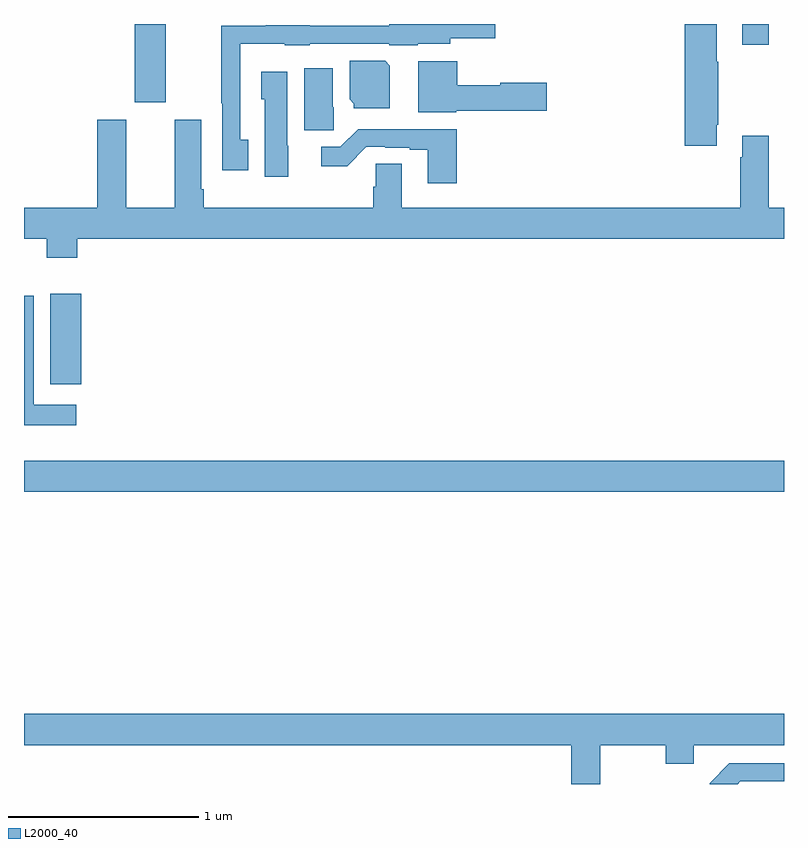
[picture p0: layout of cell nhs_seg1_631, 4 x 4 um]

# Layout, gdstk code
import gdstk
lib = gdstk.Library(unit=1e-6, precision=1e-09)
def R(c, l, rs):  # rectangles x0, y0, x1, y1
    for r in rs: c.add(gdstk.rectangle(r[:2], r[2:], *l))
def P(c, l, *ps):  # polygons
    for p in ps: c.add(gdstk.Polygon(p, *l))
L2000_40 = (2000, 40)

nhs_seg1_631 = lib.new_cell('nhs_seg1_631')
R(nhs_seg1_631, L2000_40, [(145,547.736,149,547.9), (145.139,548.304,145.3,548.779), (145.583,549.786,145.747,550.199), (148.781,550.089,148.921,550.199)])
P(nhs_seg1_631, L2000_40, [(148.645,549.67),(148.653,549.67),(148.653,550.001),(148.645,550.001),(148.645,550.199),(148.478,550.199),(148.478,549.558),(148.645,549.558)],
  [(146.179,549.59),(146.139,549.59),(146.139,550.094),(146.373,550.094),(146.373,550.088),(146.505,550.088),(146.505,550.095),(146.922,550.095),(146.922,550.088),(147.072,550.088),(147.072,550.094),(147.244,550.094),(147.244,550.124),(147.481,550.124),(147.481,550.199),(146.922,550.199),(146.922,550.191),(146.505,550.191),(146.505,550.193),(146.273,550.193),(146.273,550.191),(146.038,550.191),(146.038,549.781),(146.043,549.781),(146.043,549.429),(146.179,549.429)],
  [(146.926,549.98),(146.9,550.006),(146.714,550.006),(146.714,549.802),(146.736,549.78),(146.736,549.755),(146.926,549.755)],
  [(147.276,549.743),(147.751,549.743),(147.751,549.89),(147.507,549.89),(147.507,549.877),(147.28,549.877),(147.28,550.004),(147.074,550.004),(147.074,549.734),(147.276,549.734)],
  [(146.63,549.762),(146.626,549.762),(146.626,549.967),(146.474,549.967),(146.474,549.639),(146.63,549.639)],
  [(146.392,549.558),(146.386,549.558),(146.386,549.949),(146.249,549.949),(146.249,549.804),(146.267,549.804),(146.267,549.396),(146.392,549.396)],
  [(145,549.068),(145.12,549.068),(145.12,548.969),(145.28,548.969),(145.28,549.068),(149,549.068),(149,549.232),(148.921,549.232),(148.921,549.61),(148.781,549.61),(148.781,549.497),(148.769,549.497),(148.769,549.232),(146.989,549.232),(146.989,549.464),(146.85,549.464),(146.85,549.342),(146.837,549.342),(146.837,549.232),(145.946,549.232),(145.946,549.328),(145.933,549.328),(145.933,549.694),(145.793,549.694),(145.793,549.232),(145.537,549.232),(145.537,549.694),(145.385,549.694),(145.385,549.232),(145,549.232)],
  [(147.278,549.646),(146.758,549.646),(146.664,549.552),(146.565,549.552),(146.565,549.45),(146.7,549.45),(146.802,549.552),(146.902,549.552),(146.902,549.549),(147.029,549.549),(147.029,549.537),(147.125,549.537),(147.125,549.36),(147.278,549.36)],
  [(145.276,548.194),(145.05,548.194),(145.05,548.77),(145,548.77),(145,548.087),(145.276,548.087)],
  [(148.033,546.404),(148.378,546.404),(148.378,546.305),(148.525,546.305),(148.525,546.404),(149,546.404),(149,546.568),(145,546.568),(145,546.404),(147.881,546.404),(147.881,546.199),(148.033,546.199)],
  [(148.77,546.213),(149,546.213),(149,546.309),(148.713,546.309),(148.608,546.203),(148.608,546.199),(148.756,546.199)])

lib.write_gds('nhs_seg1_631.gds')
